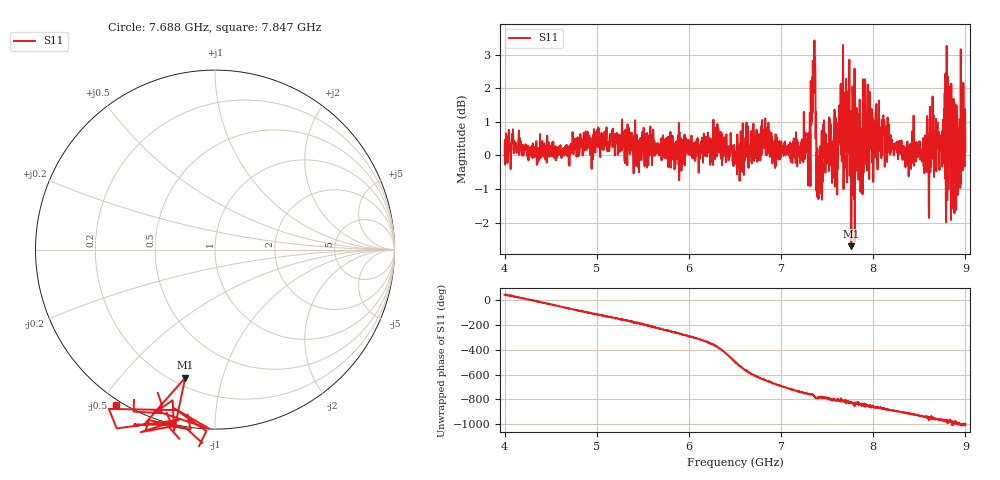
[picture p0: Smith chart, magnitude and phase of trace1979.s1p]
! Created with skrf 1.8.0 (http://scikit-rf.org).
# Hz S RI R 50.0
!freq ReS11 ImS11
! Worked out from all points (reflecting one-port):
!   1601 points, 4 GHz to 9 GHz, reference 50 ohm
!   lowest |S11| = -2.7 dB at 7.762 GHz (marker M1), VSWR 6.48, Z = 12.4 - j38.2 ohm
!   phase of S11 starts at 46 deg and turns -1048 deg over the sweep
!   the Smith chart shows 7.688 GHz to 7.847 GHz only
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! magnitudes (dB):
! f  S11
! 4 GHz  0.0
! 4.625 GHz  0.0
! 5.25 GHz  0.3
! 5.875 GHz  0.1
! 6.331 GHz  0.4
! 6.5 GHz  0.1
! 6.806 GHz  0.7
! 7.125 GHz  0.2
! 7.294 GHz  -0.9
! 7.347 GHz  2.3
! 7.369 GHz  2.9
! 7.409 GHz  -0.4
! 7.478 GHz  0.7
! 7.609 GHz  -1.2
! 7.65 GHz  1.6
! 7.75 GHz  0.1
! 7.762 GHz  -2.7
! 7.788 GHz  -0.4
! 7.928 GHz  0.8
! 7.981 GHz  0.5
! 8.375 GHz  -0.3
! 8.581 GHz  0.2
! 8.634 GHz  0.0
! 8.766 GHz  1.0
! 8.822 GHz  1.2
! 8.875 GHz  0.0
! 8.959 GHz  2.2
! 9 GHz  0.1
